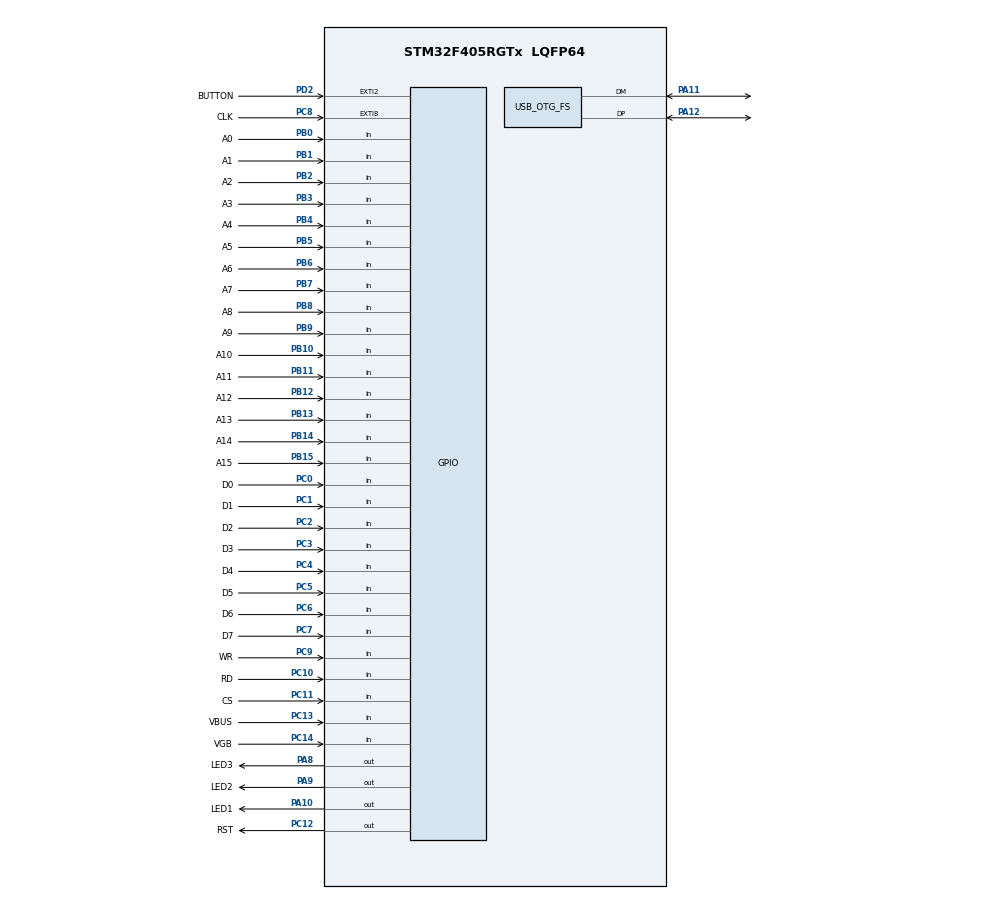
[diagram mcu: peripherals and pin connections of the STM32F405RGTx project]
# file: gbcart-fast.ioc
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Mcu.Family=STM32F4
Mcu.Name=STM32F405RGTx
Mcu.Package=LQFP64
NVIC.EXTI2_IRQn=true\:0\:0\:false\:false\:true\:true\:true
NVIC.OTG_FS_IRQn=true\:0\:0\:false\:false\:true\:false\:true
NVIC.PriorityGroup=NVIC_PRIORITYGROUP_4
PA10.GPIO_Label=LED1
PA10.Signal=GPIO_Output
PA11.Mode=Device_Only
PA11.Signal=USB_OTG_FS_DM
PA12.Mode=Device_Only
PA12.Signal=USB_OTG_FS_DP
PA13.Mode=Serial_Wire
PA13.Signal=SYS_JTMS-SWDIO
PA14.Mode=Serial_Wire
PA14.Signal=SYS_JTCK-SWCLK
PA8.GPIO_Label=LED3
PA8.Signal=GPIO_Output
PA9.GPIO_Label=LED2
PA9.Signal=GPIO_Output
PB0.GPIO_Label=A0
PB0.Signal=GPIO_Input
PB1.GPIO_Label=A1
PB1.Signal=GPIO_Input
PB10.GPIO_Label=A10
PB10.Signal=GPIO_Input
PB11.GPIO_Label=A11
PB11.Signal=GPIO_Input
PB12.GPIO_Label=A12
PB12.Signal=GPIO_Input
PB13.GPIO_Label=A13
PB13.Signal=GPIO_Input
PB14.GPIO_Label=A14
PB14.Signal=GPIO_Input
PB15.GPIO_Label=A15
PB15.Signal=GPIO_Input
PB2.GPIO_Label=A2
PB2.Signal=GPIO_Input
PB3.GPIO_Label=A3
PB3.Signal=GPIO_Input
PB4.GPIO_Label=A4
PB4.Signal=GPIO_Input
PB5.GPIO_Label=A5
PB5.Signal=GPIO_Input
PB6.GPIO_Label=A6
PB6.Signal=GPIO_Input
PB7.GPIO_Label=A7
PB7.Signal=GPIO_Input
PB8.GPIO_Label=A8
PB8.Signal=GPIO_Input
PB9.GPIO_Label=A9
PB9.Signal=GPIO_Input
PC0.GPIO_Label=D0
PC0.Signal=GPIO_Input
PC1.GPIO_Label=D1
PC1.Signal=GPIO_Input
PC10.GPIO_Label=RD
PC10.Signal=GPIO_Input
PC11.GPIO_Label=CS
PC11.Signal=GPIO_Input
PC12.GPIO_Label=RST
PC12.Signal=GPIO_Output
PC13-ANTI_TAMP.GPIO_Label=VBUS
PC13-ANTI_TAMP.Signal=GPIO_Input
PC14-OSC32_IN.GPIO_Label=VGB
PC14-OSC32_IN.Signal=GPIO_Input
PC2.GPIO_Label=D2
PC2.Signal=GPIO_Input
PC3.GPIO_Label=D3
PC3.Signal=GPIO_Input
PC4.GPIO_Label=D4
PC4.Signal=GPIO_Input
PC5.GPIO_Label=D5
PC5.Signal=GPIO_Input
PC6.GPIO_Label=D6
PC6.Signal=GPIO_Input
PC7.GPIO_Label=D7
PC7.Signal=GPIO_Input
PC8.GPIO_Label=CLK
PC8.Signal=GPXTI8
PC9.GPIO_Label=WR
PC9.Signal=GPIO_Input
PD2.GPIO_Label=BUTTON
PD2.Signal=GPXTI2
PH0-OSC_IN.Mode=HSE-External-Oscillator
PH0-OSC_IN.Signal=RCC_OSC_IN
PH1-OSC_OUT.Mode=HSE-External-Oscillator
PH1-OSC_OUT.Signal=RCC_OSC_OUT
ProjectManager.HeapSize=0x200
ProjectManager.StackSize=0x400
ProjectManager.TargetToolchain=Makefile
RCC.48MHZClocksFreq_Value=48000000
RCC.AHBFreq_Value=168000000
RCC.APB1CLKDivider=RCC_HCLK_DIV4
RCC.APB1Freq_Value=42000000
RCC.APB1TimFreq_Value=84000000
RCC.APB2CLKDivider=RCC_HCLK_DIV2
RCC.APB2Freq_Value=84000000
RCC.APB2TimFreq_Value=168000000
RCC.CortexFreq_Value=168000000
RCC.HCLKFreq_Value=168000000
RCC.HSE_VALUE=8000000
RCC.HSI_VALUE=16000000
RCC.LSE_VALUE=32768
RCC.PLLM=4
RCC.PLLN=168
RCC.PLLQ=7
RCC.SYSCLKFreq_VALUE=168000000
RCC.SYSCLKSource=RCC_SYSCLKSOURCE_PLLCLK
RCC.VCOOutputFreq_Value=336000000
USB_DEVICE.CLASS_NAME_FS=MSC
USB_DEVICE.VirtualMode-MSC_FS=Msc
USB_DEVICE.VirtualModeFS=Msc_FS
USB_OTG_FS.VirtualMode=Device_Only
VP_USB_DEVICE_VS_USB_DEVICE_MSC_FS.Mode=MSC_FS
board=custom

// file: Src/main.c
/* USER CODE BEGIN Header */
/**
 ******************************************************************************
 * @file           : main.c
 * @brief          : Main program body
 ******************************************************************************
 * @attention
 *
 * <h2><center>&copy; Copyright (c) 2020 STMicroelectronics.
 * All rights reserved.</center></h2>
 *
 * This software component is licensed by ST under BSD 3-Clause license,
 * the "License"; You may not use this file except in compliance with the
 * License. You may obtain a copy of the License at:
 *                        opensource.org/licenses/BSD-3-Clause
 *
 ******************************************************************************
 */
/* USER CODE END Header */

#include "main.h"
#include "usb_device.h"

/* USER CODE BEGIN Includes */
#include "cartridge.h"
/* USER CODE END Includes */

void SystemClock_Config(void);
static void MX_GPIO_Init(void);

int main(void) {

	/* MCU Configuration--------------------------------------------------------*/

	/* Reset of all peripherals, Initializes the Flash interface and the Systick. */
	HAL_Init();

	/* Configure the system clock */
	SystemClock_Config();

	/* Initialize all configured peripherals */
	MX_GPIO_Init();
//  MX_USB_DEVICE_Init();
	/* USER CODE BEGIN 2 */
	LL_GPIO_SetPinPull(VGB_GPIO_Port, VGB_Pin, LL_GPIO_PULL_DOWN);
	for (int i = 0; i < 1000; i++) {
		NOP10
	}
	if (!LL_GPIO_IsInputPinSet(VGB_GPIO_Port, VGB_Pin)){
		// Cartridge is not in a Game Boy, enable USB
		HAL_InitTick(TICK_INT_PRIORITY);
		MX_USB_DEVICE_Init();
		while (1);
	}

	LL_GPIO_ResetOutputPin(RST_GPIO_Port, RST_Pin);
	load_ram();
	for (int i = 0; i < 1000; i++) {
		NOP10
	}
	LL_GPIO_SetOutputPin(RST_GPIO_Port, RST_Pin);
	NVIC_EnableIRQ(EXTI2_IRQn);
	/* USER CODE END 2 */

	/* Infinite loop */
	/* USER CODE BEGIN WHILE */
	while (1) {

		while (!LL_GPIO_IsInputPinSet(CLK_GPIO_Port, CLK_Pin)) {

		}
		D0_GPIO_Port->MODER = 0x0000;
		NOP10
		NOP10
		NOP10
		NOP10
		LL_GPIO_SetOutputPin(LED1_GPIO_Port, LED1_Pin);

		uint32_t address = LL_GPIO_ReadInputPort(A0_GPIO_Port);
		uint32_t control = LL_GPIO_ReadInputPort(RD_GPIO_Port);

		if (!(address & A15_Pin)) {
			// ROM operation

			if (!(control & RD_Pin)) {
				// read from ROM

				D0_GPIO_Port->MODER = 0x5555;

				if (address & A14_Pin) { // read from switchable bank

					LL_GPIO_WriteOutputPort(D0_GPIO_Port,
							cartridge.rom[(address & 0x3FFF)
									| (cartridge.rom_bank << 14)]);
				} else {
					// read from bank 0
					LL_GPIO_WriteOutputPort(D0_GPIO_Port,
							cartridge.rom[address & 0x3FFF]);
				}

			} else if ((address & A13_Pin)) {
				//change ROM bank

				while (LL_GPIO_IsInputPinSet(CLK_GPIO_Port, CLK_Pin)) {

				}
				NOP10

				cartridge.rom_bank = LL_GPIO_ReadInputPort(D0_GPIO_Port) & 0x3F;
				if (cartridge.rom_bank == 0) {
					cartridge.rom_bank++;
				}
				if (cartridge.rom_bank >= ROM_MAX_BANK)
					cartridge.rom_bank = ROM_MAX_BANK;

			} else if ((address & A14_Pin)) {
				// change RAM bank
				while (LL_GPIO_IsInputPinSet(CLK_GPIO_Port, CLK_Pin)) {

				}
				NOP10

				uint8_t bank = LL_GPIO_ReadInputPort(D0_GPIO_Port) & 0xF;
				if (bank >= 12) {
					cartridge.ram = sram2;
					cartridge.ram_bank = bank - 12;
				} else {
					cartridge.ram = sram;
					cartridge.ram_bank = bank;
				}
			}

		} else if (!(control & (CS_Pin)) && !(address & A14_Pin)) {
			// RAM operation

			if (!(control & RD_Pin)) {
				// read from RAM
				D0_GPIO_Port->MODER = 0x5555;
				LL_GPIO_WriteOutputPort(D0_GPIO_Port,
						cartridge.ram[(address & 0x1FFF)
								| (cartridge.ram_bank << 13)]);
			} else {
				// write to RAM

				while (LL_GPIO_IsInputPinSet(CLK_GPIO_Port, CLK_Pin)) {

				}
				NOP10

				uint8_t data = LL_GPIO_ReadInputPort(D0_GPIO_Port) & 0xFF;
				cartridge.ram[(address & 0x1FFF) | (cartridge.ram_bank << 13)] =
						data;

			}

		}

		LL_GPIO_ResetOutputPin(LED1_GPIO_Port, LED1_Pin);
		while (LL_GPIO_IsInputPinSet(CLK_GPIO_Port, CLK_Pin)) {

		}

		/* USER CODE END WHILE */

	}
}

void SystemClock_Config(void) {
	LL_FLASH_SetLatency(LL_FLASH_LATENCY_5);

	if (LL_FLASH_GetLatency() != LL_FLASH_LATENCY_5) {
		Error_Handler();
	}
	LL_PWR_SetRegulVoltageScaling(LL_PWR_REGU_VOLTAGE_SCALE1);
	LL_RCC_HSE_Enable();

	/* Wait till HSE is ready */
	while (LL_RCC_HSE_IsReady() != 1) {

	}
	LL_RCC_PLL_ConfigDomain_SYS(LL_RCC_PLLSOURCE_HSE, LL_RCC_PLLM_DIV_4, 168,
	LL_RCC_PLLP_DIV_2);
	LL_RCC_PLL_ConfigDomain_48M(LL_RCC_PLLSOURCE_HSE, LL_RCC_PLLM_DIV_4, 168,
	LL_RCC_PLLQ_DIV_7);
	LL_RCC_PLL_Enable();

	/* Wait till PLL is ready */
	while (LL_RCC_PLL_IsReady() != 1) {

	}
	LL_RCC_SetAHBPrescaler(LL_RCC_SYSCLK_DIV_1);
	LL_RCC_SetAPB1Prescaler(LL_RCC_APB1_DIV_4);
	LL_RCC_SetAPB2Prescaler(LL_RCC_APB2_DIV_2);
	LL_RCC_SetSysClkSource(LL_RCC_SYS_CLKSOURCE_PLL);

	/* Wait till System clock is ready */
	while (LL_RCC_GetSysClkSource() != LL_RCC_SYS_CLKSOURCE_STATUS_PLL) {

	}
	LL_SetSystemCoreClock(168000000);
}

static void MX_GPIO_Init(void) {
	LL_EXTI_InitTypeDef EXTI_InitStruct = { 0 };
	LL_GPIO_InitTypeDef GPIO_InitStruct = { 0 };

	/* GPIO Ports Clock Enable */
	LL_AHB1_GRP1_EnableClock(LL_AHB1_GRP1_PERIPH_GPIOC);
	LL_AHB1_GRP1_EnableClock(LL_AHB1_GRP1_PERIPH_GPIOH);
	LL_AHB1_GRP1_EnableClock(LL_AHB1_GRP1_PERIPH_GPIOB);
	LL_AHB1_GRP1_EnableClock(LL_AHB1_GRP1_PERIPH_GPIOA);
	LL_AHB1_GRP1_EnableClock(LL_AHB1_GRP1_PERIPH_GPIOD);

	/**/
	LL_GPIO_ResetOutputPin(GPIOA, LED3_Pin | LED2_Pin | LED1_Pin);

	/**/
	LL_GPIO_ResetOutputPin(RST_GPIO_Port, RST_Pin);

	/**/
	GPIO_InitStruct.Pin = VBUS_Pin | VGB_Pin | D0_Pin | D1_Pin | D2_Pin | D3_Pin
			| D4_Pin | D5_Pin | D6_Pin | D7_Pin | WR_Pin | RD_Pin | CS_Pin;
	GPIO_InitStruct.Mode = LL_GPIO_MODE_INPUT;
	GPIO_InitStruct.Pull = LL_GPIO_PULL_NO;
	LL_GPIO_Init(GPIOC, &GPIO_InitStruct);

	/**/
	GPIO_InitStruct.Pin = A0_Pin | A1_Pin | A2_Pin | A10_Pin | A11_Pin | A12_Pin
			| A13_Pin | A14_Pin | A15_Pin | A3_Pin | A4_Pin | A5_Pin | A6_Pin
			| A7_Pin | A8_Pin | A9_Pin;
	GPIO_InitStruct.Mode = LL_GPIO_MODE_INPUT;
	GPIO_InitStruct.Pull = LL_GPIO_PULL_NO;
	LL_GPIO_Init(GPIOB, &GPIO_InitStruct);

	/**/
	GPIO_InitStruct.Pin = LED3_Pin | LED2_Pin | LED1_Pin;
	GPIO_InitStruct.Mode = LL_GPIO_MODE_OUTPUT;
	GPIO_InitStruct.Speed = LL_GPIO_SPEED_FREQ_LOW;
	GPIO_InitStruct.OutputType = LL_GPIO_OUTPUT_PUSHPULL;
	GPIO_InitStruct.Pull = LL_GPIO_PULL_NO;
	LL_GPIO_Init(GPIOA, &GPIO_InitStruct);

	/**/
	GPIO_InitStruct.Pin = RST_Pin;
	GPIO_InitStruct.Mode = LL_GPIO_MODE_OUTPUT;
	GPIO_InitStruct.Speed = LL_GPIO_SPEED_FREQ_LOW;
	GPIO_InitStruct.OutputType = LL_GPIO_OUTPUT_PUSHPULL;
	GPIO_InitStruct.Pull = LL_GPIO_PULL_NO;
	LL_GPIO_Init(RST_GPIO_Port, &GPIO_InitStruct);

	/**/
	LL_SYSCFG_SetEXTISource(LL_SYSCFG_EXTI_PORTC, LL_SYSCFG_EXTI_LINE8);

	/**/
	LL_SYSCFG_SetEXTISource(LL_SYSCFG_EXTI_PORTD, LL_SYSCFG_EXTI_LINE2);

	/**/
	EXTI_InitStruct.Line_0_31 = LL_EXTI_LINE_8;
	EXTI_InitStruct.LineCommand = ENABLE;
	EXTI_InitStruct.Mode = LL_EXTI_MODE_IT;
	EXTI_InitStruct.Trigger = LL_EXTI_TRIGGER_RISING;
	LL_EXTI_Init(&EXTI_InitStruct);

	/**/
	EXTI_InitStruct.Line_0_31 = LL_EXTI_LINE_2;
	EXTI_InitStruct.LineCommand = ENABLE;
	EXTI_InitStruct.Mode = LL_EXTI_MODE_IT;
	EXTI_InitStruct.Trigger = LL_EXTI_TRIGGER_RISING;
	LL_EXTI_Init(&EXTI_InitStruct);

	/**/
	LL_GPIO_SetPinPull(CLK_GPIO_Port, CLK_Pin, LL_GPIO_PULL_NO);

	/**/
	LL_GPIO_SetPinPull(BUTTON_GPIO_Port, BUTTON_Pin, LL_GPIO_PULL_NO);

	/**/
	LL_GPIO_SetPinMode(CLK_GPIO_Port, CLK_Pin, LL_GPIO_MODE_INPUT);

	/**/
	LL_GPIO_SetPinMode(BUTTON_GPIO_Port, BUTTON_Pin, LL_GPIO_MODE_INPUT);

	/* EXTI interrupt init*/
	NVIC_SetPriority(EXTI2_IRQn,
			NVIC_EncodePriority(NVIC_GetPriorityGrouping(), 0, 0));
//	NVIC_EnableIRQ(EXTI2_IRQn);

}

void Error_Handler(void) {
}

/************************ (C) COPYRIGHT STMicroelectronics *****END OF FILE****/
